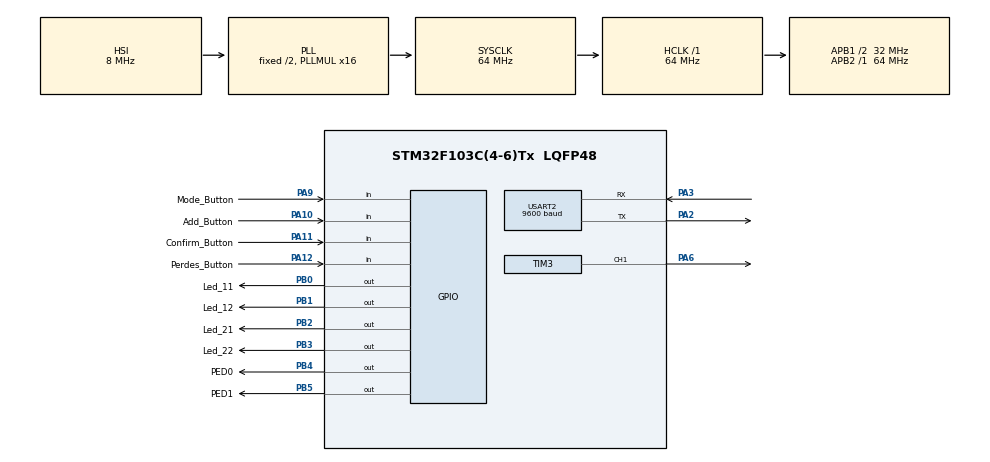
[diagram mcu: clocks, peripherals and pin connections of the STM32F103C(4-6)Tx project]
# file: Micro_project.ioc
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Mcu.Family=STM32F1
Mcu.Name=STM32F103C(4-6)Tx
Mcu.Package=LQFP48
NVIC.PriorityGroup=NVIC_PRIORITYGROUP_4
NVIC.TIM1_UP_IRQn=true\:15\:0\:false\:false\:true\:false\:true\:true
NVIC.TIM2_IRQn=true\:0\:0\:false\:false\:true\:true\:true\:true
NVIC.TIM3_IRQn=true\:0\:0\:false\:false\:true\:true\:true\:true
NVIC.TimeBase=TIM1_UP_IRQn
NVIC.TimeBaseIP=TIM1
NVIC.USART2_IRQn=true\:0\:0\:false\:false\:true\:true\:true\:true
PA10.GPIO_Label=Add_Button
PA10.GPIO_PuPd=GPIO_PULLUP
PA10.Signal=GPIO_Input
PA11.GPIO_Label=Confirm_Button
PA11.GPIO_PuPd=GPIO_PULLUP
PA11.Signal=GPIO_Input
PA12.GPIO_Label=Perdes_Button
PA12.GPIO_PuPd=GPIO_PULLUP
PA12.Signal=GPIO_Input
PA13.Mode=Serial_Wire
PA13.Signal=SYS_JTMS-SWDIO
PA14.Mode=Serial_Wire
PA14.Signal=SYS_JTCK-SWCLK
PA2.Mode=Asynchronous
PA2.Signal=USART2_TX
PA3.Mode=Asynchronous
PA3.Signal=USART2_RX
PA6.Signal=S_TIM3_CH1
PA9.GPIO_Label=Mode_Button
PA9.GPIO_PuPd=GPIO_PULLUP
PA9.Signal=GPIO_Input
PB0.GPIO_Label=Led_11
PB0.Signal=GPIO_Output
PB1.GPIO_Label=Led_12
PB1.Signal=GPIO_Output
PB2.GPIO_Label=Led_21
PB2.Signal=GPIO_Output
PB3.GPIO_Label=Led_22
PB3.Signal=GPIO_Output
PB4.GPIO_Label=PED0
PB4.Signal=GPIO_Output
PB5.GPIO_Label=PED1
PB5.Signal=GPIO_Output
ProjectManager.HeapSize=0x200
ProjectManager.StackSize=0x400
ProjectManager.TargetToolchain=STM32CubeIDE
RCC.AHBFreq_Value=64000000
RCC.APB1CLKDivider=RCC_HCLK_DIV2
RCC.APB1Freq_Value=32000000
RCC.APB1TimFreq_Value=64000000
RCC.APB2Freq_Value=64000000
RCC.APB2TimFreq_Value=64000000
RCC.HCLKFreq_Value=64000000
RCC.PLLMUL=RCC_PLL_MUL16
RCC.SYSCLKFreq_VALUE=64000000
RCC.SYSCLKSource=RCC_SYSCLKSOURCE_PLLCLK
RCC.USBFreq_Value=64000000
SH.S_TIM3_CH1.0=TIM3_CH1,PWM Generation1 CH1
TIM2.Period=9
TIM2.Prescaler=63999
TIM3.Channel-PWM\ Generation1\ CH1=TIM_CHANNEL_1
TIM3.Period=9
TIM3.Prescaler=63999
USART2.BaudRate=9600
USART2.VirtualMode=VM_ASYNC
VP_SYS_VS_tim1.Mode=TIM1
VP_TIM2_VS_ClockSourceINT.Mode=Internal
VP_TIM3_VS_ClockSourceINT.Mode=Internal
board=custom

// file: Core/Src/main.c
/* USER CODE BEGIN Header */
/**
  ******************************************************************************
  * @file           : main.c
  * @brief          : Main program body
  ******************************************************************************
  * @attention
  *
  * Copyright (c) 2022 STMicroelectronics.
  * All rights reserved.
  *
  * This software is licensed under terms that can be found in the LICENSE file
  * in the root directory of this software component.
  * If no LICENSE file comes with this software, it is provided AS-IS.
  *
  ******************************************************************************
  */
/* USER CODE END Header */
#include "main.h"

/* USER CODE BEGIN PTD */
int currentMode = AUTO;
int pivot[4] = {70, 30, 70, 30};
int state = STATE0;
int tempDuration = 0;
int timeRed = 100;
int timeYellow = 30;
int timeGreen = 70;
int currentTick = 70;
int pedestrianFlag = 0;
char msg[20];
int noTasks;
/* USER CODE END PTD */

TIM_HandleTypeDef htim2;
TIM_HandleTypeDef htim3;

UART_HandleTypeDef huart2;

void SystemClock_Config(void);
static void MX_GPIO_Init(void);
static void MX_TIM2_Init(void);
static void MX_TIM3_Init(void);
static void MX_USART2_UART_Init(void);

int main(void)
{

  /* MCU Configuration--------------------------------------------------------*/

  /* Reset of all peripherals, Initializes the Flash interface and the Systick. */
  HAL_Init();

  /* Configure the system clock */
  SystemClock_Config();

  /* Initialize all configured peripherals */
  MX_GPIO_Init();
  MX_TIM2_Init();
  MX_TIM3_Init();
  MX_USART2_UART_Init();
  /* USER CODE BEGIN 2 */
  HAL_TIM_Base_Start_IT(&htim2);
  HAL_TIM_PWM_Start(&htim3, TIM_CHANNEL_1);
  SCH_init();
  init_task();
  sprintf(msg, "%d\r\n", currentTick);
  HAL_UART_Transmit(&huart2, (uint8_t *)msg, sizeof(msg), 50);
  /* USER CODE END 2 */

  /* Infinite loop */
  /* USER CODE BEGIN WHILE */
  while (1)
  {
    SCH_dispatch_tasks();
    /* USER CODE END WHILE */

  }
}

void SystemClock_Config(void)
{
  RCC_OscInitTypeDef RCC_OscInitStruct = {0};
  RCC_ClkInitTypeDef RCC_ClkInitStruct = {0};

  /** Initializes the RCC Oscillators according to the specified parameters
  * in the RCC_OscInitTypeDef structure.
  */
  RCC_OscInitStruct.OscillatorType = RCC_OSCILLATORTYPE_HSI;
  RCC_OscInitStruct.HSIState = RCC_HSI_ON;
  RCC_OscInitStruct.HSICalibrationValue = RCC_HSICALIBRATION_DEFAULT;
  RCC_OscInitStruct.PLL.PLLState = RCC_PLL_ON;
  RCC_OscInitStruct.PLL.PLLSource = RCC_PLLSOURCE_HSI_DIV2;
  RCC_OscInitStruct.PLL.PLLMUL = RCC_PLL_MUL16;
  if (HAL_RCC_OscConfig(&RCC_OscInitStruct) != HAL_OK)
  {
    Error_Handler();
  }

  /** Initializes the CPU, AHB and APB buses clocks
  */
  RCC_ClkInitStruct.ClockType = RCC_CLOCKTYPE_HCLK|RCC_CLOCKTYPE_SYSCLK
                              |RCC_CLOCKTYPE_PCLK1|RCC_CLOCKTYPE_PCLK2;
  RCC_ClkInitStruct.SYSCLKSource = RCC_SYSCLKSOURCE_PLLCLK;
  RCC_ClkInitStruct.AHBCLKDivider = RCC_SYSCLK_DIV1;
  RCC_ClkInitStruct.APB1CLKDivider = RCC_HCLK_DIV2;
  RCC_ClkInitStruct.APB2CLKDivider = RCC_HCLK_DIV1;

  if (HAL_RCC_ClockConfig(&RCC_ClkInitStruct, FLASH_LATENCY_2) != HAL_OK)
  {
    Error_Handler();
  }
}

static void MX_TIM2_Init(void)
{

  TIM_ClockConfigTypeDef sClockSourceConfig = {0};
  TIM_MasterConfigTypeDef sMasterConfig = {0};

  htim2.Instance = TIM2;
  htim2.Init.Prescaler = 63999;
  htim2.Init.CounterMode = TIM_COUNTERMODE_UP;
  htim2.Init.Period = 9;
  htim2.Init.ClockDivision = TIM_CLOCKDIVISION_DIV1;
  htim2.Init.AutoReloadPreload = TIM_AUTORELOAD_PRELOAD_DISABLE;
  if (HAL_TIM_Base_Init(&htim2) != HAL_OK)
  {
    Error_Handler();
  }
  sClockSourceConfig.ClockSource = TIM_CLOCKSOURCE_INTERNAL;
  if (HAL_TIM_ConfigClockSource(&htim2, &sClockSourceConfig) != HAL_OK)
  {
    Error_Handler();
  }
  sMasterConfig.MasterOutputTrigger = TIM_TRGO_RESET;
  sMasterConfig.MasterSlaveMode = TIM_MASTERSLAVEMODE_DISABLE;
  if (HAL_TIMEx_MasterConfigSynchronization(&htim2, &sMasterConfig) != HAL_OK)
  {
    Error_Handler();
  }

}

static void MX_TIM3_Init(void)
{

  TIM_ClockConfigTypeDef sClockSourceConfig = {0};
  TIM_MasterConfigTypeDef sMasterConfig = {0};
  TIM_OC_InitTypeDef sConfigOC = {0};

  htim3.Instance = TIM3;
  htim3.Init.Prescaler = 63999;
  htim3.Init.CounterMode = TIM_COUNTERMODE_UP;
  htim3.Init.Period = 9;
  htim3.Init.ClockDivision = TIM_CLOCKDIVISION_DIV1;
  htim3.Init.AutoReloadPreload = TIM_AUTORELOAD_PRELOAD_DISABLE;
  if (HAL_TIM_Base_Init(&htim3) != HAL_OK)
  {
    Error_Handler();
  }
  sClockSourceConfig.ClockSource = TIM_CLOCKSOURCE_INTERNAL;
  if (HAL_TIM_ConfigClockSource(&htim3, &sClockSourceConfig) != HAL_OK)
  {
    Error_Handler();
  }
  if (HAL_TIM_PWM_Init(&htim3) != HAL_OK)
  {
    Error_Handler();
  }
  sMasterConfig.MasterOutputTrigger = TIM_TRGO_RESET;
  sMasterConfig.MasterSlaveMode = TIM_MASTERSLAVEMODE_DISABLE;
  if (HAL_TIMEx_MasterConfigSynchronization(&htim3, &sMasterConfig) != HAL_OK)
  {
    Error_Handler();
  }
  sConfigOC.OCMode = TIM_OCMODE_PWM1;
  sConfigOC.Pulse = 0;
  sConfigOC.OCPolarity = TIM_OCPOLARITY_HIGH;
  sConfigOC.OCFastMode = TIM_OCFAST_DISABLE;
  if (HAL_TIM_PWM_ConfigChannel(&htim3, &sConfigOC, TIM_CHANNEL_1) != HAL_OK)
  {
    Error_Handler();
  }
  HAL_TIM_MspPostInit(&htim3);

}

static void MX_USART2_UART_Init(void)
{

  huart2.Instance = USART2;
  huart2.Init.BaudRate = 9600;
  huart2.Init.WordLength = UART_WORDLENGTH_8B;
  huart2.Init.StopBits = UART_STOPBITS_1;
  huart2.Init.Parity = UART_PARITY_NONE;
  huart2.Init.Mode = UART_MODE_TX_RX;
  huart2.Init.HwFlowCtl = UART_HWCONTROL_NONE;
  huart2.Init.OverSampling = UART_OVERSAMPLING_16;
  if (HAL_UART_Init(&huart2) != HAL_OK)
  {
    Error_Handler();
  }

}

static void MX_GPIO_Init(void)
{
  GPIO_InitTypeDef GPIO_InitStruct = {0};

  /* GPIO Ports Clock Enable */
  __HAL_RCC_GPIOA_CLK_ENABLE();
  __HAL_RCC_GPIOB_CLK_ENABLE();

  /*Configure GPIO pin Output Level */
  HAL_GPIO_WritePin(GPIOB, Led_11_Pin|Led_12_Pin|Led_21_Pin|Led_22_Pin
                          |PED0_Pin|PED1_Pin, GPIO_PIN_RESET);

  /*Configure GPIO pins : Led_11_Pin Led_12_Pin Led_21_Pin Led_22_Pin
                           PED0_Pin PED1_Pin */
  GPIO_InitStruct.Pin = Led_11_Pin|Led_12_Pin|Led_21_Pin|Led_22_Pin
                          |PED0_Pin|PED1_Pin;
  GPIO_InitStruct.Mode = GPIO_MODE_OUTPUT_PP;
  GPIO_InitStruct.Pull = GPIO_NOPULL;
  GPIO_InitStruct.Speed = GPIO_SPEED_FREQ_LOW;
  HAL_GPIO_Init(GPIOB, &GPIO_InitStruct);

  /*Configure GPIO pins : Mode_Button_Pin Add_Button_Pin Confirm_Button_Pin Perdes_Button_Pin */
  GPIO_InitStruct.Pin = Mode_Button_Pin|Add_Button_Pin|Confirm_Button_Pin|Perdes_Button_Pin;
  GPIO_InitStruct.Mode = GPIO_MODE_INPUT;
  GPIO_InitStruct.Pull = GPIO_PULLUP;
  HAL_GPIO_Init(GPIOA, &GPIO_InitStruct);

}

void HAL_TIM_PeriodElapsedCallback(TIM_HandleTypeDef *htim)
{
  /* USER CODE BEGIN Callback 0 */
	SCH_update();
  /* USER CODE END Callback 0 */
  if (htim->Instance == TIM1) {
    HAL_IncTick();
  }
}

void Error_Handler(void)
{
  __disable_irq();
  while (1)
  {
  }
}
